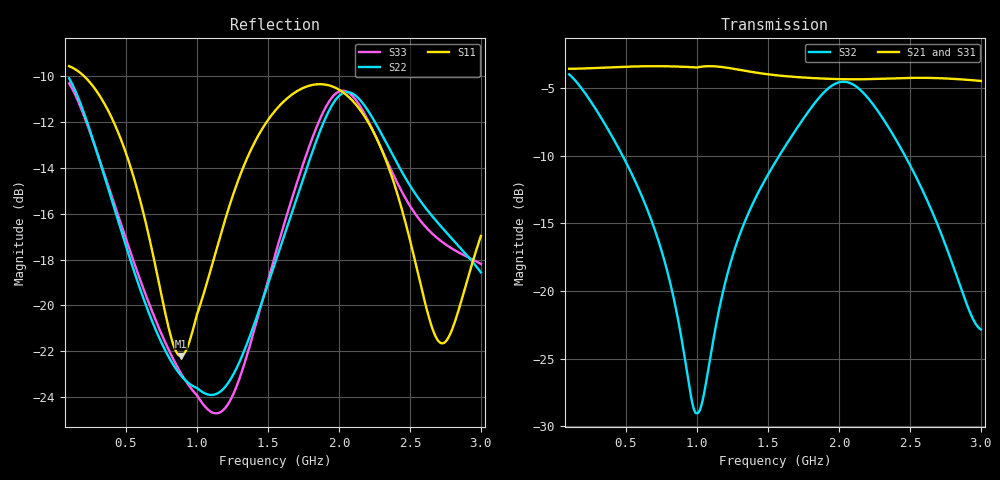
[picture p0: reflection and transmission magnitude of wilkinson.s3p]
! Touchstone file from project wilkinson
! Exported from HFSS 13.0.0
! Variables:
!  Hcobre = 0.017mm
!  Hsubstrato = 1.57mm
!  Lfeed = 4.3675cm
!  Lsubstrato = 100mm
!  W50 = 3.06mm
!  W70 = 1.66mm
!  Wcobre = 3.06mm
!  Wresistor = 1.25mm
!  Wsubstrato = 50mm
!  c = 300000000
!  d = 2mm
!  er = 4.3
!  fre = 950000000
!  lambda = 17.47cm
!  lambda4 = 4.3675cm
!  v = 144672846.651124
# GHZ S MA R 50.000000
! Modal data exported
! Port[1] = 1:1
! Port[2] = 2:1
! Port[3] = 3:1
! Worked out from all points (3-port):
!   291 points, 100 MHz to 3 GHz, reference 50 ohm
!   strongest paths, dB at 100 MHz, 820 MHz, 1.55 GHz, 2.28 GHz, 3 GHz:
!     S21: -3.6, -3.4, -4.1, -4.3, -4.5
!     S31: -3.5, -3.4, -4.1, -4.3, -4.5
!     S32: -4.0, -19.8, -10.5, -6.8, -22.8
!   lowest |S11| = -22.2 dB at 890 MHz (marker M1), VSWR 1.17, Z = 43.2 - j2.47 ohm
!   |S11| at or under -10 dB: 206.4 MHz to end of sweep
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0.1  0.3328 151.3  0.661 -24.1  0.6649 -24.3
     0.661 -24.1  0.3131 142.8  0.6305 -28.3
     0.6649 -24.3  0.6305 -28.3  0.3054 142.1
0.45  0.2366 45.5  0.6712 -108.8  0.6702 -109.0
      0.6712 -108.8  0.1511 41.3  0.3353 -103.7
      0.6702 -109.0  0.3353 -103.7  0.1553 39.8
0.89  0.07756 -158.5  0.6729 142.5  0.6724 142.4
      0.6729 142.5  0.07018 -52.5  0.06751 -154.3
      0.6724 142.4  0.06751 -154.3  0.07093 -49.5
1.01  0.09748 128.7  0.6701 112.8  0.6673 112.6
      0.6701 112.8  0.06567 -80.8  0.03551 -105.4
      0.6673 112.6  0.03551 -105.4  0.06299 -77.7
1.17  0.1436 60.4  0.6717 73.1  0.6547 73.2
      0.6717 73.1  0.06505 -124.3  0.09226 -71.0
      0.6547 73.2  0.09226 -71.0  0.05861 -123.1
1.55  0.2659 -74.9  0.6263 -19.7  0.6251 -20.0
      0.6263 -19.7  0.1237 127.5  0.2975 -121.8
      0.6251 -20.0  0.2975 -121.8  0.1287 121.3
1.87  0.304 -172.5  0.6088 -96.7  0.6042 -96.6
      0.6088 -96.7  0.2414 21.8  0.5237 177.0
      0.6042 -96.6  0.5237 177.0  0.2565 21.5
2.22  0.2468 81.0  0.6055 179.1  0.6089 179.1
      0.6055 179.1  0.2617 -105.9  0.5043 86.1
      0.6089 179.1  0.5043 86.1  0.248 -105.6
2.6  0.1034 -66.9  0.6121 85.2  0.614 84.7
     0.6121 85.2  0.1648 168.7  0.2287 17.7
     0.614 84.7  0.2287 17.7  0.1497 161.6
3  0.1418 74.2  0.596 -15.1  0.5948 -15.6
   0.596 -15.1  0.1181 95.1  0.07211 16.7
   0.5948 -15.6  0.07211 16.7  0.1232 82.7
